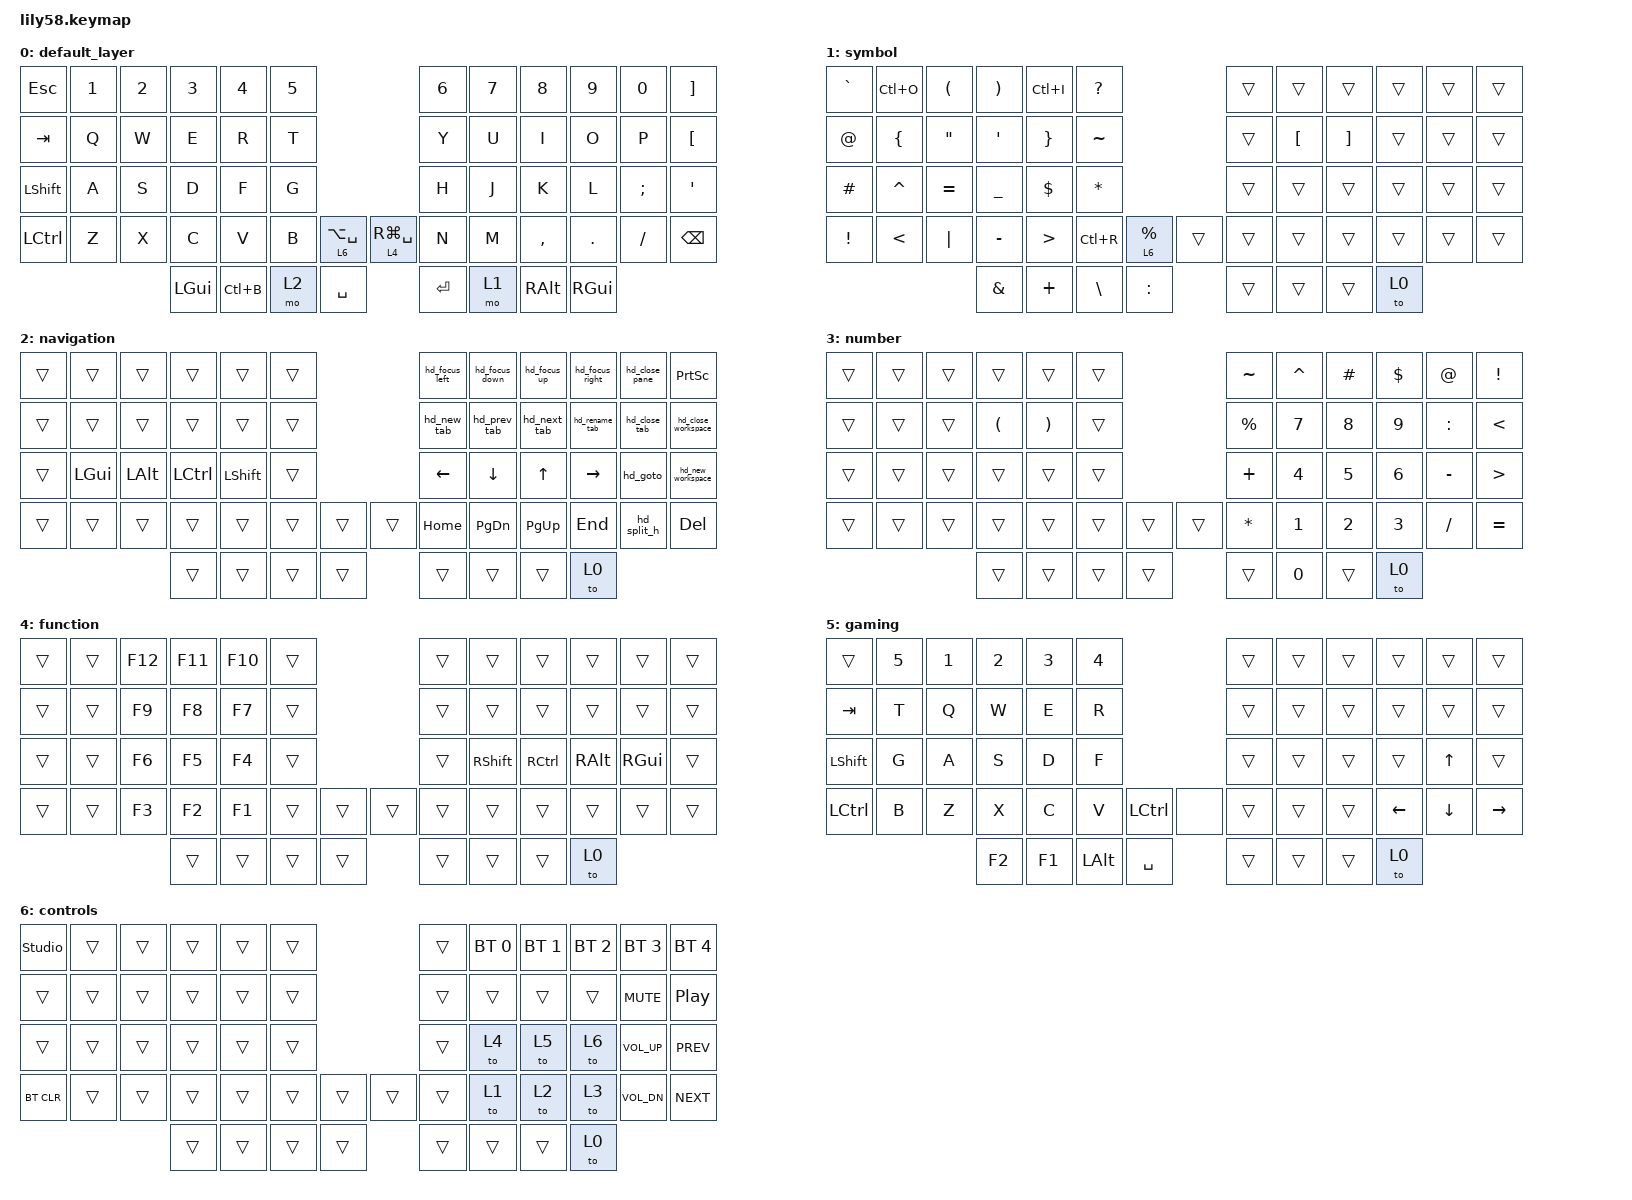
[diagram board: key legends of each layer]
/*
 * Copyright (c) 2020 The ZMK Contributors
 *
 * SPDX-License-Identifier: MIT
 */

#include <behaviors.dtsi>
#include <dt-bindings/zmk/bt.h>
#include <dt-bindings/zmk/keys.h>

/ {
    keymap {
        compatible = "zmk,keymap";

        default_layer {
            bindings = <
&kp ESC           &kp NUMBER_1  &kp NUMBER_2  &kp NUMBER_3  &kp NUMBER_4  &kp N5                                      &kp N6  &kp N7  &kp N8         &kp N9   &kp N0    &kp RIGHT_BRACKET
&kp TAB           &kp Q         &kp W         &kp E         &kp R         &kp T                                       &kp Y   &kp U   &kp I          &kp O    &kp P     &kp LEFT_BRACKET
&kp LEFT_SHIFT    &kp A         &kp S         &kp D         &kp F         &kp G                                       &kp H   &kp J   &kp K          &kp L    &kp SEMI  &kp SQT
&kp LEFT_CONTROL  &kp Z         &kp X         &kp C         &kp V         &kp B   &lt 6 LA(SPACE)    &lt 4 RG(SPACE)  &kp N   &kp M   &kp COMMA      &kp DOT  &kp FSLH  &kp BACKSPACE
                                              &kp LEFT_GUI  &kp LC(B)     &mo 2   &kp SPACE          &kp RET          &mo 1   &kp RIGHT_ALT   &kp RIGHT_GUI
            >;
        };

        symbol {
            bindings = <
&kp GRAVE    &kp LC(O)       &kp LEFT_PARENTHESIS  &kp RIGHT_PARENTHESIS  &kp LC(I)         &kp QUESTION                                   &trans  &trans            &trans             &trans         &trans         &trans
&kp AT_SIGN  &kp LEFT_BRACE  &kp DOUBLE_QUOTES     &kp SQT                &kp RIGHT_BRACE   &kp TILDE                                      &trans  &kp LEFT_BRACKET  &kp RIGHT_BRACKET  &trans         &trans         &trans
&kp HASH     &kp CARET       &kp EQUAL             &kp UNDERSCORE         &kp DOLLAR        &kp ASTERISK                                   &trans  &trans            &trans             &trans         &trans         &trans
&kp EXCL     &kp LESS_THAN   &kp PIPE              &kp MINUS              &kp GREATER_THAN  &kp LC(R)             &lt 6 PERCENT    &trans  &trans  &trans            &trans             &trans         &trans         &trans
                                                   &kp AMPS               &kp PLUS          &kp BSLH              &kp COLON        &trans  &trans  &trans            &to 0
            >;
        };

        navigation {
            bindings = <
&trans  &trans        &trans        &trans            &trans          &trans                    &hd_focus_left  &hd_focus_down  &hd_focus_up  &hd_focus_right  &hd_close_pane &kp PRINTSCREEN
&trans  &trans        &trans        &trans            &trans          &trans                    &hd_new_tab     &hd_prev_tab    &hd_next_tab    &hd_rename_tab &hd_close_tab  &hd_close_workspace
&trans  &kp LEFT_GUI  &kp LEFT_ALT  &kp LEFT_CONTROL  &kp LEFT_SHIFT  &trans                    &kp LEFT        &kp DOWN        &kp UP_ARROW  &kp RIGHT        &hd_goto       &hd_new_workspace
&trans  &trans        &trans        &trans            &trans          &trans  &trans    &trans  &kp HOME        &kp PAGE_DOWN   &kp PAGE_UP   &kp END          &hd_split_h    &kp DELETE
                                    &trans            &trans          &trans  &trans    &trans  &trans         &trans       &to 0
            >;
        };

        number {
            bindings = <
&trans  &trans        &trans        &trans                &trans                 &trans                    &kp TILDE     &kp CARET     &kp HASH      &kp DOLLAR    &kp AT_SIGN  &kp EXCLAMATION
&trans  &trans        &trans        &kp LEFT_PARENTHESIS  &kp RIGHT_PARENTHESIS  &trans                    &kp PRCNT     &kp NUMBER_7  &kp NUMBER_8  &kp NUMBER_9  &kp COLON    &kp LESS_THAN
&trans  &trans        &trans        &trans                &trans                 &trans                    &kp PLUS      &kp NUMBER_4  &kp NUMBER_5  &kp NUMBER_6  &kp MINUS    &kp GREATER_THAN
&trans  &trans        &trans        &trans                &trans                 &trans  &trans    &trans  &kp ASTERISK  &kp NUMBER_1  &kp NUMBER_2  &kp NUMBER_3  &kp SLASH    &kp EQUAL
                                    &trans                &trans                 &trans  &trans    &trans  &kp NUMBER_0  &trans        &to 0
            >;
        };

        function {
            bindings = <
&trans  &trans  &kp F12  &kp F11  &kp F10  &trans                    &trans  &trans           &trans             &trans         &trans         &trans
&trans  &trans  &kp F9   &kp F8   &kp F7   &trans                    &trans  &trans           &trans             &trans         &trans         &trans
&trans  &trans  &kp F6   &kp F5   &kp F4   &trans                    &trans  &kp RIGHT_SHIFT  &kp RIGHT_CONTROL  &kp RIGHT_ALT  &kp RIGHT_GUI  &trans
&trans  &trans  &kp F3   &kp F2   &kp F1   &trans  &trans    &trans  &trans  &trans           &trans             &trans         &trans         &trans
                         &trans  &trans  &trans  &trans    &trans  &trans  &trans           &to 0
            >;
        };

        gaming {
            bindings = <
&trans            &kp N5  &kp N1  &kp N2  &kp N3        &kp N4                                   &trans  &trans  &trans  &trans    &trans          &trans
&kp TAB           &kp T   &kp Q   &kp W   &kp E         &kp R                                    &trans  &trans  &trans  &trans    &trans          &trans
&kp LEFT_SHIFT    &kp G   &kp A   &kp S   &kp D         &kp F                                    &trans  &trans  &trans  &trans    &kp UP_ARROW    &trans
&kp LEFT_CONTROL  &kp B   &kp Z   &kp X   &kp C         &kp V         &kp LEFT_CONTROL    &none  &trans  &trans  &trans  &kp LEFT  &kp DOWN_ARROW  &kp RIGHT
                                  &kp F2      &kp F1    &kp LEFT_ALT  &kp SPACE           &trans  &trans  &trans  &to 0
            >;
        };

        controls {
            bindings = <
&studio_unlock  &trans        &trans        &trans            &trans          &trans                    &trans      &bt BT_SEL 0  &bt BT_SEL 1  &bt BT_SEL 2  &bt BT_SEL 3     &bt BT_SEL 4
&trans          &trans        &trans        &trans            &trans          &trans                    &trans      &trans        &trans        &trans        &kp C_MUTE       &kp C_PLAY_PAUSE
&trans          &trans        &trans        &trans            &trans          &trans                    &trans      &to 4         &to 5         &to 6         &kp C_VOLUME_UP  &kp C_PREV
&bt BT_CLR      &trans        &trans        &trans            &trans          &trans  &trans    &trans  &trans      &to 1         &to 2         &to 3         &kp C_VOL_DN     &kp C_NEXT
                                            &trans            &trans          &trans  &trans    &trans  &trans      &trans        &to 0
            >;
        };
    };
};

/ {
    macros {
        hd_focus_left: hd_focus_left {
            compatible = "zmk,behavior-macro";
            #binding-cells = <0>;
            bindings = <&kp LC(B) &kp LEFT>;
        };

        hd_focus_down: hd_focus_down {
            compatible = "zmk,behavior-macro";
            #binding-cells = <0>;
            bindings = <&kp LC(B) &kp DOWN>;
        };

        hd_focus_up: hd_focus_up {
            compatible = "zmk,behavior-macro";
            #binding-cells = <0>;
            bindings = <&kp LC(B) &kp UP_ARROW>;
        };

        hd_focus_right: hd_focus_right {
            compatible = "zmk,behavior-macro";
            #binding-cells = <0>;
            bindings = <&kp LC(B) &kp RIGHT>;
        };

        hd_split_h: hd_split_h {
            compatible = "zmk,behavior-macro";
            #binding-cells = <0>;
            bindings = <&kp LC(B) &kp F8>;
        };

        hd_new_tab: hd_new_tab {
            compatible = "zmk,behavior-macro";
            #binding-cells = <0>;
            bindings = <&kp LC(B) &kp F5>;
        };

        hd_prev_tab: hd_prev_tab {
            compatible = "zmk,behavior-macro";
            #binding-cells = <0>;
            bindings = <&kp LC(B) &kp F6>;
        };

        hd_next_tab: hd_next_tab {
            compatible = "zmk,behavior-macro";
            #binding-cells = <0>;
            bindings = <&kp LC(B) &kp F7>;
        };

        hd_close_tab: hd_close_tab {
            compatible = "zmk,behavior-macro";
            #binding-cells = <0>;
            bindings = <&kp LC(B) &kp LS(F5)>;
        };

        hd_rename_tab: hd_rename_tab {
            compatible = "zmk,behavior-macro";
            #binding-cells = <0>;
            bindings = <&kp LC(B) &kp LS(F4)>;
        };

        hd_new_workspace: hd_new_workspace {
            compatible = "zmk,behavior-macro";
            #binding-cells = <0>;
            bindings = <&kp LC(B) &kp LS(F6)>;
        };

        hd_close_workspace: hd_close_workspace {
            compatible = "zmk,behavior-macro";
            #binding-cells = <0>;
            bindings = <&kp LC(B) &kp LS(F7)>;
        };

        hd_close_pane: hd_close_pane {
            compatible = "zmk,behavior-macro";
            #binding-cells = <0>;
            bindings = <&kp LC(B) &kp F10>;
        };

        hd_goto: hd_goto {
            compatible = "zmk,behavior-macro";
            #binding-cells = <0>;
            bindings = <&kp LC(B) &kp F9>;
        };
    };
};
